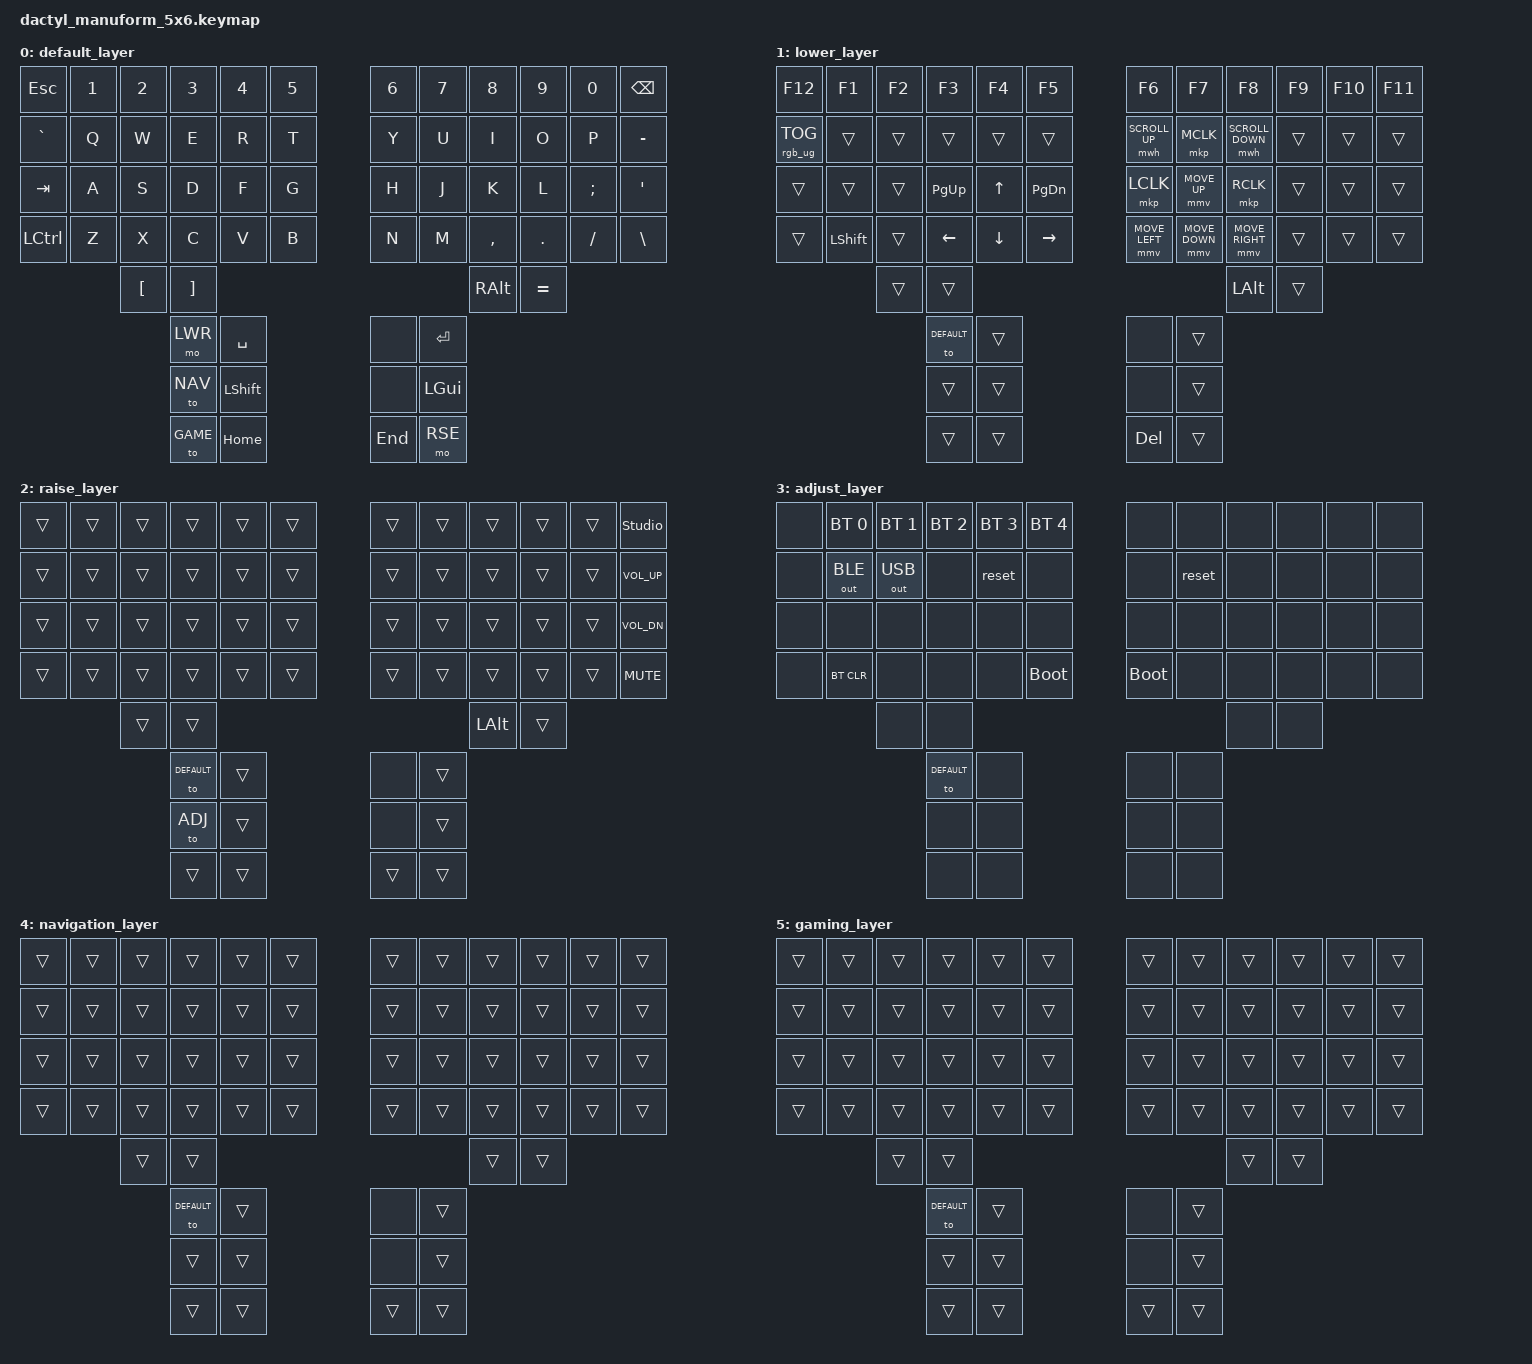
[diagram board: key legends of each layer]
#include <behaviors.dtsi>
#include <dt-bindings/zmk/keys.h>
#include <dt-bindings/zmk/bt.h>
#include <dt-bindings/zmk/outputs.h>
#include <dt-bindings/zmk/mouse.h>
#include <dt-bindings/zmk/rgb.h>

#define DEFAULT 0
#define LWR 1
#define RSE 2
#define ADJ 3
#define NAV 4
#define GAME 5


/ {

    // macros {
    //     ZMK_MACRO(lwr_macro,
    //         wait-ms = <30>;
    //         tap-ms = <40>;
    //         bindings
    //             = <&macro_press &mo 1>
    //             , <&macro_tap &rgb_ug RGB_COLOR_HSB(128,100,100)>
    //             , <&macro_pause_for_release>
    //             , <&macro_release &mo 1>
    //             , <&macro_tap &rgb_ug RGB_EFF>
    //             , <&macro_tap &rgb_ug RGB_EFR>;
    //     )

    //     ZMK_MACRO(rse_macro,
    //         wait-ms = <30>;
    //         tap-ms = <40>;
    //         bindings
    //             = <&macro_press &mo 2>
    //             , <&macro_tap &rgb_ug RGB_COLOR_HSB(128,100,100)>
    //             , <&macro_pause_for_release>
    //             , <&macro_release &mo 2>
    //             , <&macro_tap &rgb_ug RGB_EFF>
    //             , <&macro_tap &rgb_ug RGB_EFR>;
    //     )

    //     ZMK_MACRO(adj_macro,
    //         wait-ms = <30>;
    //         tap-ms = <40>;
    //         bindings
    //             = <&macro_press &to 3>
    //             , <&macro_tap &rgb_ug RGB_COLOR_HSB(128,100,100)>
    //             , <&macro_pause_for_release>
    //             , <&macro_release &mo 3>
    //             , <&macro_tap &rgb_ug RGB_EFF>
    //             , <&macro_tap &rgb_ug RGB_EFR>;
    //     )

    //     ZMK_MACRO(nav_macro,
    //         wait-ms = <30>;
    //         tap-ms = <40>;
    //         bindings
    //             = <&macro_press &to 4>
    //             , <&macro_tap &rgb_ug RGB_COLOR_HSB(128,100,100)>
    //             , <&macro_pause_for_release>
    //             , <&macro_release &mo 4>
    //             , <&macro_tap &rgb_ug RGB_EFF>
    //             , <&macro_tap &rgb_ug RGB_EFR>;
    //     )
    // };


    keymap {
        compatible = "zmk,keymap";

        default_layer {
            bindings = <
                &kp ESC     &kp N1 &kp N2 &kp N3 &kp N4 &kp N5              &kp N6 &kp N7 &kp N8    &kp N9  &kp N0   &kp BSPC
                &kp GRAVE   &kp Q  &kp W  &kp E  &kp R  &kp T               &kp Y  &kp U  &kp I     &kp O   &kp P    &kp MINUS
                &kp TAB     &kp A  &kp S  &kp D  &kp F  &kp G               &kp H  &kp J  &kp K     &kp L   &kp SEMI &kp SQT
                &kp LCTRL   &kp Z  &kp X  &kp C  &kp V  &kp B               &kp N  &kp M  &kp COMMA &kp DOT &kp FSLH &kp BSLH
                                 &kp LBKT &kp RBKT                                      &kp RALT &kp EQUAL
                                            &mo LWR  &kp SPACE           &none    &kp RET
                                            &to NAV  &kp LSHIFT          &none    &kp LGUI
                                            &to GAME &kp HOME            &kp END  &mo RSE
            >;
        };
        lower_layer {
            bindings = <
                &kp F12           &kp F1    &kp F2 &kp F3    &kp F4   &kp F5                &kp F6         &kp F7         &kp F8           &kp F9 &kp F10 &kp F11
                &rgb_ug RGB_TOG   &trans    &trans &trans    &trans   &trans                &mwh SCROLL_UP &mkp MCLK      &mwh SCROLL_DOWN &trans &trans  &trans
                &trans            &trans    &trans &kp PG_UP &kp UP   &kp PG_DN             &mkp LCLK      &mmv MOVE_UP   &mkp RCLK        &trans &trans  &trans
                &trans            &kp LSHFT &trans &kp LEFT  &kp DOWN &kp RIGHT             &mmv MOVE_LEFT &mmv MOVE_DOWN &mmv MOVE_RIGHT  &trans &trans  &trans
                                            &trans    &trans                                                              &kp LALT &trans
                                                            &to DEFAULT &trans                &none   &trans
                                                            &trans      &trans                &none   &trans
                                                            &trans      &trans                &kp DEL &trans
        >;
        };

        raise_layer {
            bindings = <
                &trans  &trans &trans &trans &trans &trans                &trans &trans &trans &trans &trans &studio_unlock
                &trans  &trans &trans &trans &trans &trans                &trans &trans &trans &trans &trans &kp K_VOL_UP
                &trans  &trans &trans &trans &trans &trans                &trans &trans &trans &trans &trans &kp K_VOL_DN
                &trans  &trans &trans &trans &trans &trans                &trans &trans &trans &trans &trans &kp K_MUTE
                               &trans &trans                                            &kp LALT &trans
                                        &to DEFAULT &trans               &none  &trans
                                        &to ADJ     &trans               &none  &trans
                                        &trans      &trans               &trans &trans
            >;
        };

        adjust_layer {
            bindings = <
                &none &bt BT_SEL 0 &bt BT_SEL 1 &bt BT_SEL 2 &bt BT_SEL 3  &bt BT_SEL 4            &none       &none  &none &none &none &none
                &none &out OUT_BLE &out OUT_USB &none        &reset        &none                   &none       &reset &none &none &none &none
                &none &none        &none        &none        &none         &none                   &none       &none  &none &none &none &none
                &none &bt BT_CLR   &none        &none        &none         &bootloader             &bootloader &none  &none &none &none &none
                                   &none        &none                                                                 &none &none
                                                                    &to DEFAULT &none             &none &none
                                                                    &none       &none             &none &none
                                                                    &none       &none             &none &none
            >;
        };
        
        navigation_layer {
            bindings = <
                &trans  &trans &trans &trans &trans &trans                &trans &trans &trans &trans &trans &trans
                &trans  &trans &trans &trans &trans &trans                &trans &trans &trans &trans &trans &trans
                &trans  &trans &trans &trans &trans &trans                &trans &trans &trans &trans &trans &trans
                &trans  &trans &trans &trans &trans &trans                &trans &trans &trans &trans &trans &trans
                               &trans &trans                                            &trans &trans
                                        &to DEFAULT &trans               &none  &trans
                                        &trans      &trans               &none  &trans
                                        &trans      &trans               &trans &trans
            >;
        };
        
        gaming_layer {
            bindings = <
                &trans  &trans &trans &trans &trans &trans                &trans &trans &trans &trans &trans &trans
                &trans  &trans &trans &trans &trans &trans                &trans &trans &trans &trans &trans &trans
                &trans  &trans &trans &trans &trans &trans                &trans &trans &trans &trans &trans &trans
                &trans  &trans &trans &trans &trans &trans                &trans &trans &trans &trans &trans &trans
                               &trans &trans                                            &trans &trans
                                        &to DEFAULT &trans               &none  &trans
                                        &trans      &trans               &none  &trans
                                        &trans      &trans               &trans &trans
            >;
        };
    };


};
